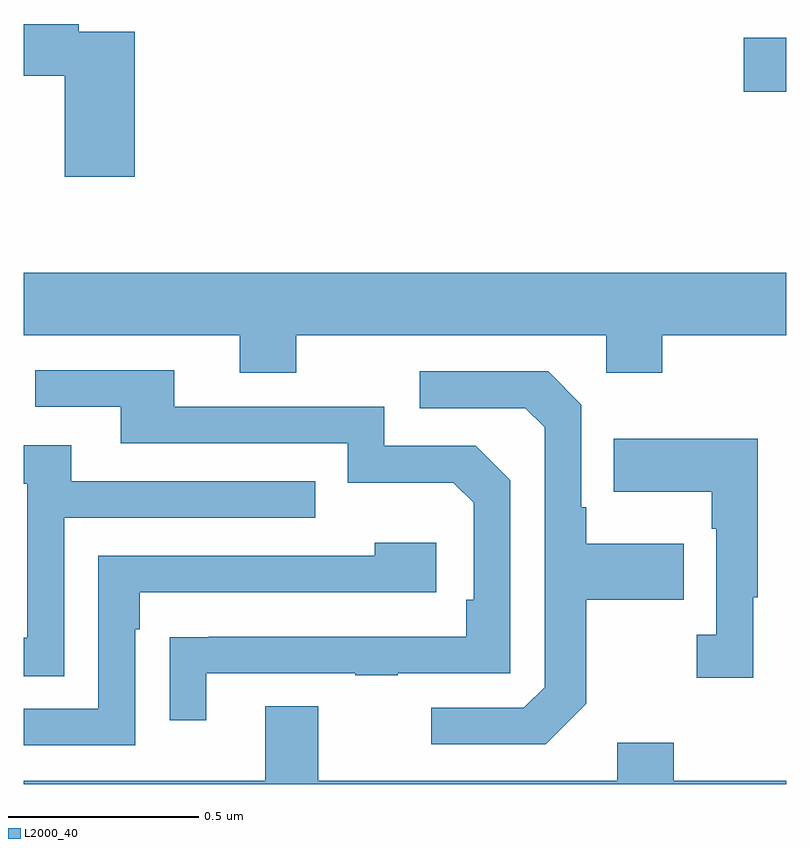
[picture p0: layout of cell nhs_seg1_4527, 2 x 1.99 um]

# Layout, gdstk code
import gdstk
lib = gdstk.Library(unit=1e-6, precision=1e-09)
def R(c, l, rs):  # rectangles x0, y0, x1, y1
    for r in rs: c.add(gdstk.rectangle(r[:2], r[2:], *l))
def P(c, l, *ps):  # polygons
    for p in ps: c.add(gdstk.Polygon(p, *l))
L2000_40 = (2000, 40)

nhs_seg1_4527 = lib.new_cell('nhs_seg1_4527')
R(nhs_seg1_4527, L2000_40, [(168.888,575.014,169,575.156)])
P(nhs_seg1_4527, L2000_40, [(167.291,575.172),(167.144,575.172),(167.144,575.192),(167,575.192),(167,575.056),(167.108,575.056),(167.108,574.791),(167.291,574.791)],
  [(167.715,574.376),(168.528,574.376),(168.528,574.277),(168.675,574.277),(168.675,574.376),(169,574.376),(169,574.54),(167,574.54),(167,574.376),(167.567,574.376),(167.567,574.277),(167.715,574.277)],
  [(167.479,573.489),(167.869,573.489),(167.869,573.484),(167.981,573.484),(167.981,573.489),(168.276,573.489),(168.276,573.996),(168.186,574.086),(167.946,574.086),(167.946,574.188),(167.395,574.188),(167.395,574.284),(167.031,574.284),(167.031,574.188),(167.255,574.188),(167.255,574.092),(167.85,574.092),(167.85,573.989),(168.127,573.989),(168.18,573.936),(168.18,573.682),(168.16,573.682),(168.16,573.585),(167.485,573.585),(167.485,573.584),(167.383,573.584),(167.383,573.366),(167.479,573.366)],
  [(168.475,573.409),(168.475,573.682),(168.731,573.682),(168.731,573.829),(168.475,573.829),(168.475,573.925),(168.462,573.925),(168.462,574.194),(168.375,574.281),(168.039,574.281),(168.039,574.185),(168.315,574.185),(168.366,574.134),(168.366,573.453),(168.312,573.399),(168.069,573.399),(168.069,573.303),(168.369,573.303)],
  [(168.913,573.689),(168.925,573.689),(168.925,574.105),(168.547,574.105),(168.547,573.965),(168.804,573.965),(168.804,573.869),(168.816,573.869),(168.816,573.59),(168.765,573.59),(168.765,573.477),(168.913,573.477)],
  [(167.106,573.897),(167.765,573.897),(167.765,573.993),(167.125,573.993),(167.125,574.087),(167,574.087),(167,573.987),(167.01,573.987),(167.01,573.582),(167,573.582),(167,573.481),(167.106,573.481)],
  [(167.292,573.605),(167.305,573.605),(167.305,573.702),(168.082,573.702),(168.082,573.832),(167.921,573.832),(167.921,573.798),(167.196,573.798),(167.196,573.396),(167,573.396),(167,573.3),(167.292,573.3)],
  [(169,573.208),(168.705,573.208),(168.705,573.307),(168.557,573.307),(168.557,573.208),(167.773,573.208),(167.773,573.403),(167.633,573.403),(167.633,573.208),(167,573.208),(167,573.199),(169,573.199)])

lib.write_gds('nhs_seg1_4527.gds')
